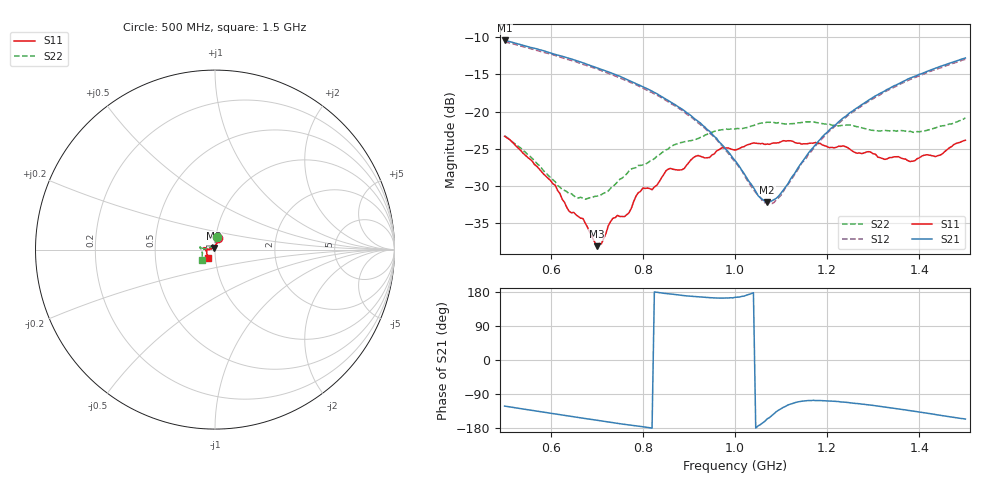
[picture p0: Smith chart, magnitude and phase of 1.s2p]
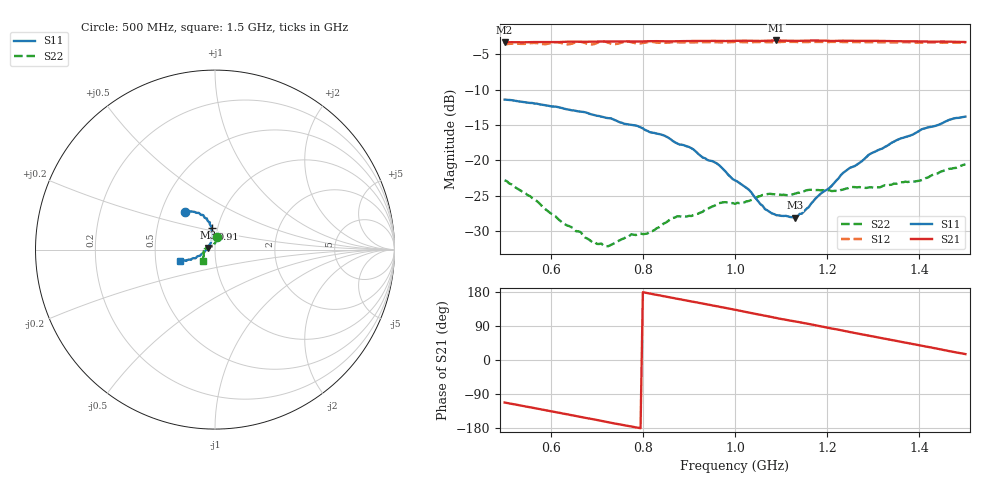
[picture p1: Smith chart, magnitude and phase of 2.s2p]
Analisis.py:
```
# ---
# jupyter:
#   jupytext:
#     formats: ipynb,py:percent
#     text_representation:
#       extension: .py
#       format_name: percent
#       format_version: '1.3'
#       jupytext_version: 1.17.2
#   kernelspec:
#     display_name: Python 3 (ipykernel)
#     language: python
#     name: python3
# ---

# %%
import skrf as rf
import numpy as np
# pyright: reportCallIssue=false


# %% [markdown]
# # Extracción de mediciónes
# Para hacer las mediciónes físicas se usó un VNA de 2 puertos Rohde-Schwarz, ZNC3-2Port calibrado en un rango de frecuencias de $0.5$ a $1.5$ GHz.
# Como el divisor de Wilkinson tiene 3 puertos, se reconstruye la matriz de parámetros S a través de 3 mediciónes hechas por separado.
#
# La correspondencia puerto VNA -> puerto Wilkinson es:
#
# | Archivo | Puerto VNA | Puerto Dispositivo |
# | ------- | ---------- | ------------------ |
# | 1.s2p       | 1          | 2                  |
# | 1.s2p       | 2          | 3                  |
# | 2.s2p       | 1          | 1                  |
# | 2.s2p       | 2          | 2                  |
# | 3.s2p       | 1          | 1                  |
# | 3.s2p       | 2          | 3                  |
#
# Finalmente tenemos otro archivo 4.s2p, el cual tiene el through entre los dos cables sin carga en el medio para ver el ripple inherente al instrumento / cables

# %% [markdown]
# Primero cargamos los cuatro archivos de mediciónes

# %%
m1 = rf.Network('mediciones/1.s2p')
m2 = rf.Network('mediciones/2.s2p')
m3 = rf.Network('mediciones/3.s2p')
m4 = rf.Network('mediciones/4.s2p')

# %% [markdown]
# Luego hacemos una red de tres puertos correspondiente al divisor de Wilkinson llamada `willkinson`

# %%
#Extraigo las frecuencias del primer archivo
freq = m1.frequency
#Genero matriz de ceros para inicializar red vacia
s_mat = np.zeros((len(freq), 3, 3), dtype=complex)
#Genero red vacia
wilkinson = rf.Network(frequency=freq, s=s_mat, z0=50, name='Wilkinson 3-port')

# %% [markdown]
# La notación para referirse a un parámetro S es `wilkinson.s[frec, Sa, Sb]`. Para operar sobre todas las frecuencias simplemente se trabaja en modo rango completo usando `wilkinson.s[: ,Sa, Sb]`. El indexado inicia en 0, no en 1, con lo cual para referirse, por ejemplo, al parámetro $S_{21}$ en todo el espectro de frecuencias disponibles se hace `wilkinson.s[:, 1, 0]`

# %% [markdown]
# Ahora vamos a mapear todos los parámetros almacenados en los archivos .s2p (cada uno correspondiente a una red de dos puertos especificada en tabla) a la red de tres puertos `wilkinson` correspondiente a nuestro divisor de potencia.

# %% [markdown]
# Para las mediciónes de transmisión, hay una sola opción en cada caso con lo cual simplemente se mapea del archivo s2p a la variable

# %%
# Archivo 1.s2p (m1): VNA p1 -> Dispositivo p2 | VNA p2 -> Dispositivo p3
wilkinson.s[:, 2, 1] = m1.s[:, 1, 0]  # S21 de m1 -> S32 del dispositivo (transmisión p2->p3)
wilkinson.s[:, 1, 2] = m1.s[:, 0, 1]  # S12 de m1 -> S23 del dispositivo (transmisión p3->p2)

# Archivo 2.s2p (m2): VNA p1 -> Dispositivo p1 | VNA p2 -> Dispositivo p2
wilkinson.s[:, 1, 0] = m2.s[:, 1, 0]  # S21 de m2 -> S21 del dispositivo (transmisión p1->p2)
wilkinson.s[:, 0, 1] = m2.s[:, 0, 1]  # S12 de m2 -> S12 del dispositivo (transmisión p2->p1)

# Archivo 3.s2p (m3): VNA p1 -> Dispositivo p1 | VNA p2 -> Dispositivo p3
wilkinson.s[:, 2, 0] = m3.s[:, 1, 0]  # S21 de m3 -> S31 del dispositivo (transmisión p1->p3)
wilkinson.s[:, 0, 2] = m3.s[:, 0, 1]  # S12 de m3 -> S13 del dispositivo (transmisión p3->p1)

# %% [markdown]
# Ahora las reflexiónes. Hay 2 mediciónes de cada una ya que cada puerto se usó en dos archivos diferentes. Al no tener información sobre cuál es más confiable, hacemos un promedio simple de todas las reflexiónes

# %%
# Reflexión S11 (promedio de m2 y m3)
aux = (m2.s[:, 0, 0] + m3.s[:, 0, 0]) / 2  # Promedio de S11 de m2 y S11 de m3
wilkinson.s[:, 0, 0] = aux  # S11 del dispositivo

# Reflexión S22 (promedio de m1 y m2)
aux = (m1.s[:, 0, 0] + m2.s[:, 1, 1]) / 2  # S11 de m1 -> S22, S22 de m2 -> S22
wilkinson.s[:, 1, 1] = aux  # S22 del dispositivo

# Reflexión S33 (promedio de m1 y m3)
aux = (m1.s[:, 1, 1] + m3.s[:, 1, 1]) / 2  # S22 de m1 -> S33, S22 de m3 -> S33
wilkinson.s[:, 2, 2] = aux  # S33 del dispositivo

# %% [markdown]
# Ahora el bloque `wilkinson` tiene la matriz completa de parámetros S extraidos mediante mediciónes.

# %% [markdown]
# # Ploteos
# Ploteamos transferencia, adaptación y aislación en tres gráficos separados desde función `plot_s_parameters` hecha a parte para simplificar y estandarizar ploteos

# %% [markdown]
# Tenemos tres redes:
#
# La primera red es una simulación ideal hecha en ADS:
#
# <img src="imagenes/ideal.jpg" width="600">
#
# A esa red la importo y la llamo `wilkinson_ideal`
#
# Luego está la simulación hecha en ADS en la que se simuló el bloque físico con parámetros del sustrato y resistencias reales. A esa red la llamo `wilkinson_simulada`
#
# <img src="imagenes/simulado.jpg" width="600">
#
# Y finalmente las mediciónes reales extraidas del VNA con las que venimos trabajando hasta ahora, a las cuales tenombramos `wilkionson_real`
#
# <img src="imagenes/real.jpg" width="600">
#
# Como las simulaciónes estan exportadas como parámetros s3p, es decir red de 3 puertos, no hace falta hacerles mucho procesamiento
#

# %%
# Se preparan las tres redes
wilkinson_ideal = rf.Network('simulaciones/ideal.s3p')
wilkinson_simulado = rf.Network('simulaciones/simulado.s3p')
wilkinson_real = wilkinson


# %%
from importlib import reload
import plotear  # Importa el módulo (no la función directamente)

# %%
reload(plotear)  # Recarga el módulo desde disco
from plotear import plot_s_parameters  # Vuelve a importar la función actualizada

# %% [markdown]
# ## Función de ploteosabs
# Función guardada en un archivo a parte llamado `plotear.py` que plotea con un formato estandarizado para este caso. Las lineas verticales sólidas azules están fijadas en $1\text{GHz}$ mientras que las líneas punteadas son los picos (máximo o mínimo segun corresponda) de cada curva. El valor en $\text{GHz}$ de cada línea punteada está en la leyenda

# %% [markdown]
# ## Primero se plotea el ideal

# %%
plot_s_parameters(wilkinson_ideal, 'Análisis red ideal', save_fig=True, autoscales=True)


# %% [markdown]
# Luego se plotean los parámetros desde la simulación

# %%
plot_s_parameters(wilkinson_simulado, 'Analisis de red simulada', save_fig=True, autoscales=True)

# %% [markdown]
# Y finalmente desde los parámetros medidos

# %%
plot_s_parameters(wilkinson_real, 'Analisis red real', save_fig=True, autoscales=False)

# %% [markdown]
# A parte del marcado ripple, se puede ver que las tendencias se mantienen en cuando a los picos al lado del desfasaje

# %% [markdown]
# # Corrección de error de instrumento
# Capturamos también los  parámetros `.2sp` de una conexión directa entre los cables para ver el ripple de nuestro setup

# %%
through = rf.Network(frequency = m4.frequency, s = m4.s, z0=50, name='Through')

# %%
through.plot_s_db()

# %% [markdown]
# Hay una enorme diferencia entre las transferencias y los rebotes. Concentrandome en las transferencias

# %%
through.plot_s_db(m=1, n=0)
through.plot_s_db(m=0, n=1)

# %% [markdown]
# Ajá, acá sí, sin embargo las amplitudes se ven de 0.05 maso. Poco.

# %% [markdown]
# Para hacer una nueva red con la corrección aplicada voy a necesitar la correspondiencia de los puertos del VNA originales y los puertos de la red `wilkinson`.<br>
# Por ejemplo: La transferencia $S_{31}$ de la red de Wilkinson se corresponde la transferencia $S_{21}$ del archivo `3.s2p`. Entonces, necesitamos hacer $S_{31}(\text{Wilkinson}) \cdot S_{21}^{-1}(\text{VNA})$, es decir, la transfewrencia de la red armada a partir de las mediciónes del dispositivo por el inverso de la transferencia medida en los cables. Las reflexiónes están promediadas; en el caso de $S_{22}$ la re-calculo usando solamente $S_{11}$ de `2.s2p` ya que está medida de dos puertos del VNA distintos. Las otras dos reflexiónes son consistentes. Acá a no errarle.

# %% [markdown]
# ## Tabla de archivos original
#
# | Archivo | Puerto VNA | Puerto Dispositivo |
# | ------- | ---------- | ------------------ |
# | 1.s2p       | 1          | 2                  |
# | 1.s2p       | 2          | 3                  |
# | 2.s2p       | 1          | 1                  |
# | 2.s2p       | 2          | 2                  |
# | 3.s2p       | 1          | 1                  |
# | 3.s2p       | 2          | 3                  |
#
# ## Correspondencia en corrección
#
# | Wilkinson | Correccion
# | --------- | ---------------
# | $S_{11}$  | $S_{11}$   |
# | $S_{22}$  | $S_{11}$   |
# | $S_{33}$  | $S_{22}$   |
# | $S_{21}$  | $S_{21}$   |
# | $S_{31}$  | $S_{21}$   |
# | $S_{23}$  | $S_{12}$   |
# | $S_{32}$  | $S_{21}$   |

# %% [markdown]
# Invertimos la matriz del through para aplicar las correcciónes

# %%
through.plot_s_db(0, 1)
through.inv.plot_s_db(0, 1)


# %%
correccion = through.inv

# %%
#Re calculo S11
wilkinson.s[:, 0, 0] = m2.s[:, 0, 0]

# %%
wilkinson_fix = wilkinson.copy()

# %%
wilkinson_fix.s[:, 0, 0] = wilkinson.s[:, 0, 0] * correccion.s[:, 0, 0]
wilkinson_fix.s[:, 1, 1] = wilkinson.s[:, 1, 1] * correccion.s[:, 0, 0]
wilkinson_fix.s[:, 2, 2] = wilkinson.s[:, 2, 2] * correccion.s[:, 1, 1]
wilkinson_fix.s[:, 1, 0] = wilkinson.s[:, 1, 0] * correccion.s[:, 1, 0]
wilkinson_fix.s[:, 2, 1] = wilkinson.s[:, 2, 1] * correccion.s[:, 1, 0]
wilkinson_fix.s[:, 1, 2] = wilkinson.s[:, 1, 2] * correccion.s[:, 0, 1]

# %% [markdown]
# Taraaann a ver los ploteos corregidos

# %%
plot_s_parameters(wilkinson_fix, autoscales=True)

# %% [markdown]
# Las adaptaciónes están exageradas ya que se están sumando los dB de la adaptación original más los de la adaptación del trough (que no da cero) así que las dejo fuera del calculo. Revierto la red corregida para volver las reflexiónes a sus valores originales

# %%
wilkinson_fix.s[:, 0, 0] = wilkinson.s[:, 0, 0]
wilkinson_fix.s[:, 1, 1] = wilkinson.s[:, 1, 1]
wilkinson_fix.s[:, 2, 2] = wilkinson.s[:, 2, 2]

# %%
plot_s_parameters(wilkinson_fix, autoscales=False)

# %% [markdown]
# A ver contra el no corregido

# %%
plot_s_parameters(wilkinson_real)

# %% [markdown]
# En este caso, el $S_{21}$ mejora bastante en cuanto al ancho de banda pero el ripple no se solucióna
```
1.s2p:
#  HZ  S  DB  R  50.00
! Rohde & Schwarz Vector Network Analyzer
! Rohde-Schwarz,ZNC3-2Port,1311600412101323,1.94
! Created: UTC 6/24/2025, 10:50:46 PM
!The following Port Impedance Renormalization has been used when saving the data.
!PortZ  Port1:50+j0  Port2:50+j0
! freq[Hz]  db:S11  ang:S11  db:S21  ang:S21  db:S12  ang:S12  db:S22  ang:S22
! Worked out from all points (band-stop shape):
!   201 points, 500 MHz to 1.5 GHz, reference 50 ohm
!   highest |S21| = -10.44 dB at 500 MHz (marker M1); lowest = -32.2 dB at 1.07 GHz (marker M2)
!   |S21| within 3 dB of the highest: start of sweep to 669.9 MHz; 1.469 GHz to end of sweep
!   lowest |S11| = -38.1 dB at 700 MHz (marker M3), VSWR 1.03, Z = 49.2 + j0.953 ohm
!   |S11| at or under -10 dB: start of sweep to end of sweep
!   |S22| runs from -31.8 to -20.9 dB; largest |S21 - S12| = 0.0092
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5e8  -23.32 74.0  -10.44 -121.6  -10.61 -122.6  -23.26 81.5
6.25e8  -31.78 82.3  -12.57 -145.1  -12.77 -145.8  -30.50 101.0
6.7e8  -34.38 100.5  -13.44 -153.6  -13.65 -154.0  -31.66 126.9
7e8  -38.11 128.9  -14.10 -158.9  -14.26 -159.5  -31.37 147.0
7.35e8  -34.35 155.4  -14.89 -165.4  -15.09 -165.4  -30.06 158.3
8.55e8  -27.76 -179.8  -18.51 174.8  -18.68 174.1  -25.03 173.8
1e9  -25.17 176.1  -26.57 165.4  -26.75 164.0  -22.34 174.2
1.07e9  -24.36 173.1  -32.17 -155.2  -32.23 -155.6  -21.43 172.0
1.25e9  -25.10 174.4  -20.12 -113.1  -20.30 -113.1  -21.81 173.8
1.38e9  -26.72 -163.5  -15.51 -133.6  -15.69 -134.2  -22.65 -166.8
1.5e9  -23.86 -130.6  -12.79 -155.9  -12.98 -155.9  -20.86 -142.4
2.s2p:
#  HZ  S  DB  R  50.00
! Rohde & Schwarz Vector Network Analyzer
! Rohde-Schwarz,ZNC3-2Port,1311600412101323,1.94
! Created: UTC 6/24/2025, 10:55:28 PM
!The following Port Impedance Renormalization has been used when saving the data.
!PortZ  Port1:50+j0  Port2:50+j0
! freq[Hz]  db:S11  ang:S11  db:S21  ang:S21  db:S12  ang:S12  db:S22  ang:S22
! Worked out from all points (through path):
!   201 points, 500 MHz to 1.5 GHz, reference 50 ohm
!   highest |S21| = -3.03 dB at 1.09 GHz (marker M1); lowest = -3.3 dB at 500 MHz (marker M2)
!   group delay of S21, straight-line fit = 646 ps
!   lowest |S11| = -28.1 dB at 1.13 GHz (marker M3), VSWR 1.08, Z = 46.3 + j0.99 ohm
!   |S11| at or under -10 dB: start of sweep to end of sweep
!   |S22| runs from -32.1 to -20.6 dB; largest |S21 - S12| = 0.03
!   S11 on the Smith chart (normalised r, x): 500 MHz: 0.66, +0.30; 910 MHz: 0.94, +0.22; 1.5 GHz: 0.67, -0.09
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5e8  -11.40 128.6  -3.30 -112.2  -3.56 -112.8  -22.81 80.9
6.05e8  -12.38 119.2  -3.28 -136.3  -3.33 -135.9  -27.69 86.8
7.15e8  -13.88 108.8  -3.18 -161.9  -3.18 -161.9  -32.08 123.6
8.2e8  -16.07 102.1  -3.13 174.3  -3.24 173.5  -30.00 157.3
9.1e8  -18.46 98.9  -3.11 153.4  -3.30 152.8  -27.74 169.9
1e9  -22.81 101.1  -3.09 132.7  -3.24 131.7  -26.15 176.0
1.09e9  -27.76 132.3  -3.03 110.7  -3.28 111.5  -24.86 -179.0
1.13e9  -28.08 164.3  -3.09 101.9  -3.24 101.5  -24.72 179.5
1.22e9  -22.84 -163.3  -3.08 81.0  -3.24 80.2  -24.32 -174.0
1.305e9  -18.73 -156.5  -3.10 60.9  -3.28 60.6  -23.81 -163.5
1.5e9  -13.80 -162.6  -3.26 15.6  -3.37 15.8  -20.56 -136.6
